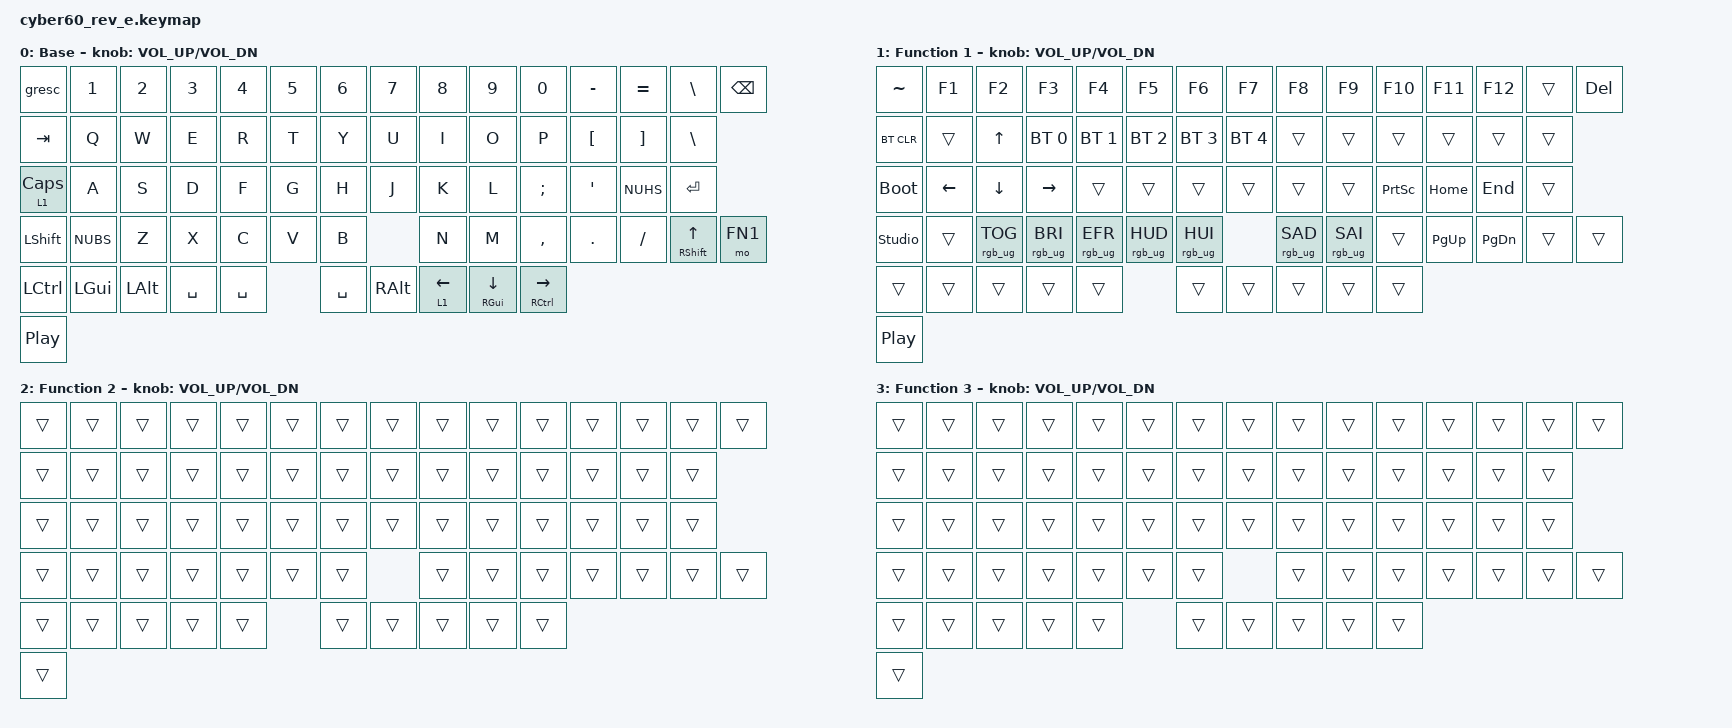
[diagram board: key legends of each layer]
#include <behaviors.dtsi>
#include <dt-bindings/zmk/bt.h>
#include <dt-bindings/zmk/keys.h>
#include <dt-bindings/zmk/rgb.h>

#define FN1 1

&mt {
    quick-tap-ms = <150>;
};

/ {
    keymap {
        compatible = "zmk,keymap";
        default_layer {
            display-name = "Base";
            bindings = <
            &gresc		&kp N1		&kp N2		&kp N3		&kp N4		&kp N5    &kp N6   &kp N7    &kp N8     &kp N9		&kp N0  	&kp MINUS	&kp EQUAL	&kp BSLH  &kp BSPC
            &kp TAB     &kp Q		&kp W		&kp E		&kp R		&kp T     &kp Y    &kp U     &kp I      &kp O		&kp P   	&kp LBKT	&kp RBKT	&kp BSLH
            &lt 1 CLCK	&kp A		&kp S		&kp D		&kp F		&kp G     &kp H    &kp J     &kp K      &kp L		&kp SEMI	&kp SQT		&kp NUHS	&kp RET
            &kp LSHFT   &kp NUBS    &kp Z       &kp X           &kp C           &kp V     &kp B    &kp N     &kp M      &kp COMMA   &kp DOT     &kp FSLH        &mt RSHIFT UP   &mo FN1
            &kp LCTRL   &kp LGUI    &kp LALT    &kp SPACE       &kp SPACE       &kp SPACE  &kp RALT  &lt 1 LEFT  &mt RGUI DOWN   &mt RCTRL RIGHT
            &kp C_PP
            >;

            sensor-bindings = <&inc_dec_kp C_VOL_UP C_VOL_DN>;
        };

        fn_layer_0 {
            display-name = "Function 1";
            bindings = <
            &kp TILDE	   &kp F1		&kp F2          &kp F3          &kp F4          &kp F5          &kp F6          &kp F7          &kp F8  		&kp F9	&kp F10  &kp F11  &kp F12 &trans  &kp DEL
            &bt BT_CLR     &trans       &kp UP                  &bt BT_SEL 0    &bt BT_SEL 1    &bt BT_SEL 2    &bt BT_SEL 3    &bt BT_SEL 4    &trans                  &trans  &trans   &trans   &trans  &trans
            &bootloader    &kp LEFT     &kp DOWN        &kp RIGHT       &trans          &trans          &trans          &trans          &trans	               &trans  &kp PSCRN   &kp HOME   &kp END  &trans
            &studio_unlock &trans		&rgb_ug RGB_TOG	&rgb_ug RGB_BRI	&rgb_ug RGB_EFR	&rgb_ug RGB_HUD	&rgb_ug RGB_HUI	&rgb_ug RGB_SAD	&rgb_ug RGB_SAI &trans  &kp PG_UP   &kp PG_DN   &trans  &trans
            &trans		   &trans		&trans          &trans          &trans          &trans          &trans          &trans         &trans  		&trans
            &kp C_PP
            >;

            sensor-bindings = <&inc_dec_kp C_VOL_UP C_VOL_DN>;
        };
        fn_layer_1 {
            display-name = "Function 2";
            bindings = <
            &trans	&trans  &trans  &trans  &trans  &trans  &trans  &trans  &trans  &trans  &trans  &trans  &trans  &trans  &trans
            &trans	&trans  &trans  &trans  &trans  &trans  &trans  &trans  &trans  &trans  &trans  &trans  &trans  &trans
            &trans	&trans  &trans  &trans  &trans  &trans  &trans  &trans  &trans  &trans  &trans  &trans  &trans  &trans
            &trans  &trans  &trans	&trans	&trans	&trans	&trans	&trans	&trans  &trans  &trans  &trans  &trans  &trans
            &trans  &trans  &trans  &trans  &trans  &trans  &trans  &trans  &trans  &trans
            &trans
            >;

            sensor-bindings = <&inc_dec_kp C_VOL_UP C_VOL_DN>;
        };
        fn_layer_2 {
            display-name = "Function 3";
            bindings = <
            &trans	&trans  &trans  &trans  &trans  &trans  &trans  &trans  &trans  &trans  &trans  &trans  &trans  &trans  &trans
            &trans	&trans  &trans  &trans  &trans  &trans  &trans  &trans  &trans  &trans  &trans  &trans  &trans  &trans
            &trans	&trans  &trans  &trans  &trans  &trans  &trans  &trans  &trans  &trans  &trans  &trans  &trans  &trans
            &trans  &trans  &trans	&trans	&trans	&trans	&trans	&trans	&trans  &trans  &trans  &trans  &trans  &trans
            &trans  &trans  &trans  &trans  &trans  &trans  &trans  &trans  &trans  &trans
            &trans
            >;

            sensor-bindings = <&inc_dec_kp C_VOL_UP C_VOL_DN>;
        };
    };
};
